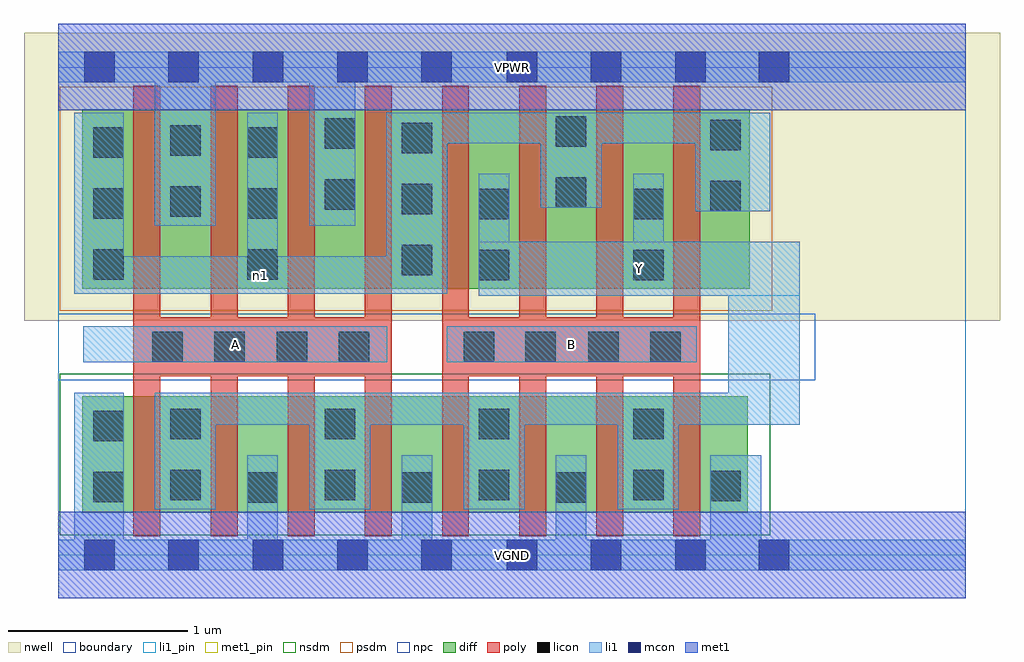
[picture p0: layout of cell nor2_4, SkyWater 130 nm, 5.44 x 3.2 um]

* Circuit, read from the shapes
.subckt nor2_4 A B VGND VPWR Y n1
XM1 Y A VGND VSUBS sky130_fd_pr__nfet_01v8 w=0.65 l=0.15 m=4
XM2 Y B VGND VSUBS sky130_fd_pr__nfet_01v8 w=0.65 l=0.15 m=4
XM3 VPWR A n1 n2 sky130_fd_pr__pfet_01v8 w=1 l=0.15 m=4
XM4 Y B n1 n2 sky130_fd_pr__pfet_01v8 w=1 l=0.15 m=4
.ends

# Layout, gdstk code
import gdstk
lib = gdstk.Library(unit=1e-6, precision=1e-09)
def R(c, l, rs):  # rectangles x0, y0, x1, y1
    for r in rs: c.add(gdstk.rectangle(r[:2], r[2:], *l))
def A(c, l, x, y, w, h, nx, ny, dx, dy):  # array of equal rectangles
    R(c, l, [(x+i*dx, y+j*dy, x+i*dx+w, y+j*dy+h) for i in range(nx) for j in range(ny)])
nwell = (64, 20)
diff = (65, 20)
poly = (66, 20)
licon = (66, 44)
li1_pin = (67, 16)
li1 = (67, 20)
mcon = (67, 44)
met1_pin = (68, 16)
met1 = (68, 20)
nsdm = (93, 44)
psdm = (94, 20)
npc = (95, 20)
boundary = (235, 4)

nor2_4 = lib.new_cell('nor2_4')
R(nor2_4, nwell, [(-0.19,1.305,5.25,2.91), (0,1.305,5.06,2.91)])
R(nor2_4, diff, [(0.135,0.235,3.845,0.885), (0.135,1.485,3.855,2.485)])
A(nor2_4, poly, 0.42, 0.105, 0.15, 2.51, 8, 1, 0.43, 0)
R(nor2_4, poly, [(0.42,0.995,1.86,1.325), (2.14,0.995,3.58,1.325)])
A(nor2_4, licon, 1.055, 0.29, 0.17, 0.17, 3, 1, 0.86, 0)
A(nor2_4, licon, 0.625, 0.305, 0.17, 0.17, 4, 2, 0.86, 0.34)
A(nor2_4, licon, 0.195, 1.535, 0.17, 0.17, 1, 3, 0, 0.34)
A(nor2_4, licon, 1.055, 1.535, 0.17, 0.17, 1, 3, 0, 0.34)
A(nor2_4, licon, 1.915, 1.56, 0.17, 0.17, 1, 3, 0, 0.34)
R(nor2_4, licon, [(0.195,0.295,0.365,0.465), (3.635,0.3,3.805,0.47), (0.195,0.635,0.365,0.805), (0.525,1.075,0.695,1.245), (0.87,1.075,1.04,1.245), (1.22,1.075,1.39,1.245), (1.565,1.075,1.735,1.245), (2.26,1.075,2.43,1.245), (2.605,1.075,2.775,1.245), (2.955,1.075,3.125,1.245), (3.3,1.075,3.47,1.245), (2.345,1.53,2.515,1.7), (3.205,1.53,3.375,1.7), (2.345,1.87,2.515,2.04), (3.205,1.87,3.375,2.04), (0.625,1.885,0.795,2.055), (3.635,1.915,3.805,2.085), (1.485,1.925,1.655,2.095), (2.775,1.935,2.945,2.105), (0.625,2.225,0.795,2.395), (3.635,2.255,3.805,2.425), (1.485,2.265,1.655,2.435), (2.775,2.275,2.945,2.445)])
R(nor2_4, li1_pin, [(0.14,1.075,1.835,1.275), (2.165,1.075,3.56,1.275), (2.345,1.445,4.135,1.745)])
A(nor2_4, li1, 1.055, -0.085, 0.17, 0.64, 3, 1, 0.86, 0)
A(nor2_4, li1, 0.54, 0.255, 0.34, 0.65, 4, 1, 0.86, 0)
R(nor2_4, li1, [(0,-0.085,5.06,0.085), (0.09,-0.085,0.365,0.905), (3.635,-0.085,3.92,0.555), (0.54,0.725,4.135,0.905), (3.735,0.725,4.135,1.745), (0.14,1.075,1.835,1.275), (2.165,1.075,3.56,1.275), (2.345,1.445,4.135,1.745), (2.345,1.445,2.515,2.125), (3.205,1.445,3.375,2.125), (0.09,1.455,2.17,1.665), (0.09,1.455,0.365,2.465), (1.055,1.455,1.225,2.465), (1.83,1.455,2.17,2.465), (0.54,1.835,0.88,2.805), (1.4,1.835,1.655,2.805), (3.55,1.915,3.97,2.465), (2.69,1.935,3.03,2.465), (1.83,2.295,3.97,2.465), (0,2.635,5.06,2.805)])
A(nor2_4, mcon, 0.145, -0.085, 0.17, 0.17, 5, 2, 0.47, 2.72)
A(nor2_4, mcon, 2.5, -0.085, 0.17, 0.17, 3, 2, 0.47, 2.72)
R(nor2_4, mcon, [(3.905,-0.085,4.075,0.085), (3.905,2.635,4.075,2.805)])
R(nor2_4, met1_pin, [(0,-0.24,5.06,0.24), (0,2.48,5.06,2.96)])
R(nor2_4, met1, [(0,-0.24,5.06,0.24), (0,2.48,5.06,2.96)])
R(nor2_4, nsdm, [(0.01,0.11,3.97,1.01)])
R(nor2_4, psdm, [(0.01,1.36,3.98,2.61)])
R(nor2_4, npc, [(0,0.975,4.22,1.345)])
R(nor2_4, boundary, [(0,0,5.06,2.72)])
nor2_4.add(gdstk.Label('A', (0.987,1.175), layer=67, texttype=5))
nor2_4.add(gdstk.Label('B', (2.862,1.175), layer=67, texttype=5))
nor2_4.add(gdstk.Label('Y', (3.24,1.595), layer=67, texttype=5))
nor2_4.add(gdstk.Label('n1', (1.13,1.56), layer=67, texttype=5))
nor2_4.add(gdstk.Label('VPWR', (2.53,2.72), layer=68, texttype=5))
nor2_4.add(gdstk.Label('VGND', (2.53,0), layer=68, texttype=5))
nor2_4.add(gdstk.Label('A', (0.987,1.175), layer=67, texttype=16))
nor2_4.add(gdstk.Label('B', (2.862,1.175), layer=67, texttype=16))
nor2_4.add(gdstk.Label('Y', (3.24,1.595), layer=67, texttype=16))
nor2_4.add(gdstk.Label('VPWR', (2.53,2.72), layer=68, texttype=16))
nor2_4.add(gdstk.Label('VGND', (2.53,0), layer=68, texttype=16))

lib.write_gds('nor2_4.gds')
